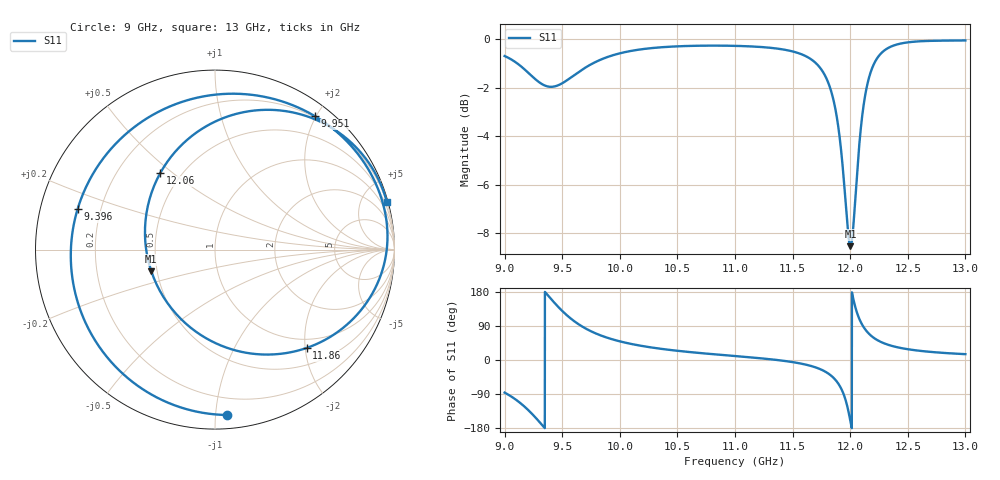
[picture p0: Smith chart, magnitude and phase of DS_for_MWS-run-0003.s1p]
! TOUCHSTONE file generated by CST DESIGN STUDIO
! Date and time: Tue Feb  4 17:09:32 2025
! Project name: C:\Work\MatlabApps\UnitCellOptimizationMatlab\CST\unitcell.cst
! Tree item: Tasks\Sweep1\SPara1\S-Parameters
! Header version: 2024
! Port assignment regex: !\s*Touchstone port\s*([0-9]+)\s*=\s*(CST MWS port|CST DES external port|CST DES block port)\s*(.+)\s* \(\"(.*)\"\)(\s*mode\s*([0-9]+))?.*
! Touchstone port assignment:
! Touchstone port 1 = CST DES external port 1 ("")
# GHz S MA R 50
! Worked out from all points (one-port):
!   4001 points, 9 GHz to 13 GHz, reference 50 ohm
!   lowest |S11| = -8.5 dB at 12 GHz (marker M1), VSWR 2.20, Z = 23.2 - j6.49 ohm
!   |S11| at or under -10 dB: nowhere
!   S11 on the Smith chart (normalised r, x): 9 GHz: 0.09, -1.07; 9.396 GHz: 0.11, +0.14; 9.951 GHz: 0.18, +1.98; 11.86 GHz: 0.81, -2.03; 12.06 GHz: 0.38, +0.45; 13 GHz: 0.16, +7.39
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9  0.9236 -86.0
9.101  0.8949 -105.3
9.188  0.8606 -127.2
9.299  0.8159 -162.3
9.396  0.7981 163.5
9.5  0.8116 129.5
9.58  0.8355 108.1
9.67  0.8648 89.0
9.803  0.901 68.6
9.951  0.9287 53.2
10  0.9355 49.2
10.5  0.967 24.3
11  0.9692 10.5
11.5  0.9439 -5.5
11.725  0.8813 -22.3
11.855  0.7493 -47.0
11.936  0.5423 -84.9
11.967  0.4387 -113.1
12  0.3751 -158.2
12.002  0.3747 -161.3
12.029  0.4171 158.4
12.058  0.5237 125.7
12.092  0.6545 100.0
12.128  0.7615 81.8
12.237  0.9162 52.2
12.345  0.9637 38.7
12.5  0.9854 28.5
13  0.9943 15.4
